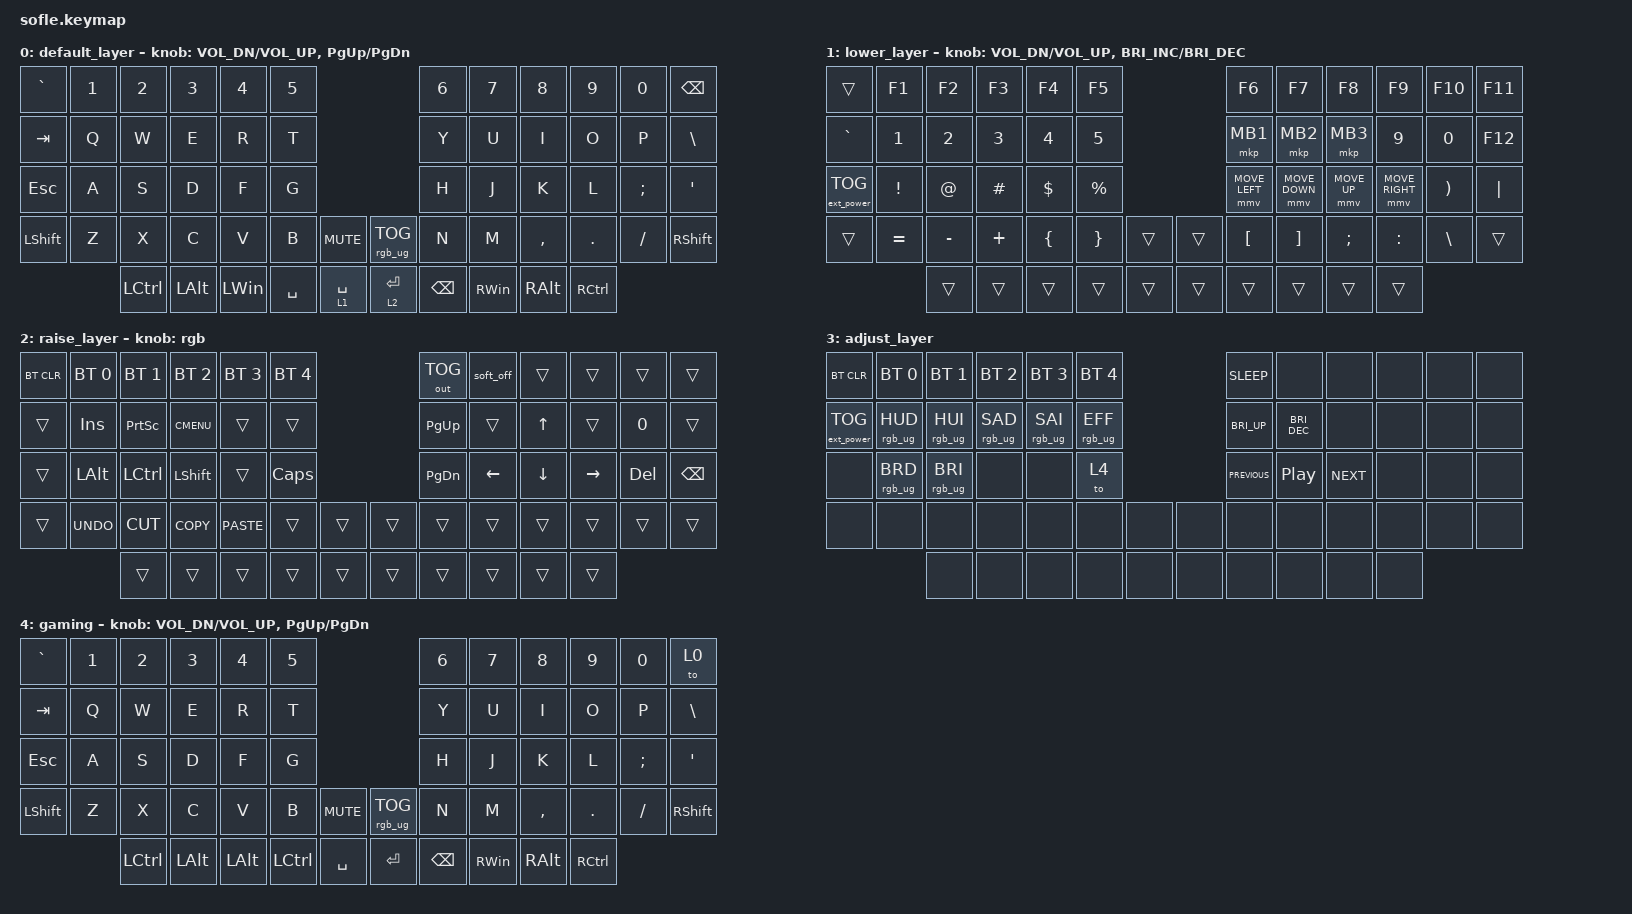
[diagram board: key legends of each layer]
/*
 * Copyright (c) 2020 The ZMK Contributors
 *
 * SPDX-License-Identifier: MIT
 */

#define ZMK_POINTING_DEFAULT_MOVE_VAL 1500  // default: 600
#define ZMK_POINTING_DEFAULT_SCRL_VAL 20    // default: 10

#include <behaviors.dtsi>
#include <dt-bindings/zmk/bt.h>
#include <dt-bindings/zmk/ext_power.h>
#include <dt-bindings/zmk/keys.h>
#include <dt-bindings/zmk/outputs.h>
#include <dt-bindings/zmk/pointing.h>
#include <dt-bindings/zmk/rgb.h>

#define BASE 0
#define LOWER 1
#define RAISE 2
#define ADJUST 3

/ {
    // Activate ADJUST layer by pressing raise and lower

    conditional_layers {
        compatible = "zmk,conditional-layers";

        adjust_layer {
            if-layers = <1 2>;
            then-layer = <3>;
        };
    };

    behaviors {
        rgb: rgb {
            compatible = "zmk,behavior-sensor-rotate";
            label = "RGB";
            #sensor-binding-cells = <0>;
            bindings = <&rgb_ug RGB_BRI>, <&rgb_ug RGB_BRD>;
        };
    };

    combos {
        compatible = "zmk,combos";

        cedilha {
            bindings = <&cedilha>;
            key-positions = <39 46>;
        };
    };

    macros {
        cedilha: cedilha {
            compatible = "zmk,behavior-macro";
            #binding-cells = <0>;
            bindings = <&kp RIGHT_ALT &kp C &kp COMMA>;
            label = "CEDILHA";
        };
    };

    keymap {
        compatible = "zmk,keymap";

        default_layer {
            // ------------------------------------------------------------------------------------------------------------
            // |   `   |  1  |  2  |  3   |  4   |  5   |                   |  6   |  7    |  8    |  9   |   0   |       |
            // |  ESC  |  Q  |  W  |  E   |  R   |  T   |                   |  Y   |  U    |  I    |  O   |   P   | BKSPC |
            // |  TAB  |  A  |  S  |  D   |  F   |  G   |                   |  H   |  J    |  K    |  L   |   ;   |   '   |
            // | SHIFT |  Z  |  X  |  C   |  V   |  B   |  MUTE  |  |       |  N   |  M    |  ,    |  .   |   /   | SHIFT |
            //               | GUI | ALT  | CTRL | LOWER|  ENTER |  | SPACE | RAISE| CTRL  | ALT   | GUI  |

            bindings = <
&kp GRAVE  &kp N1  &kp N2            &kp N3    &kp N4        &kp N5                                     &kp N6         &kp N7         &kp N8         &kp N9     &kp N0    &kp BACKSPACE
&kp TAB    &kp Q   &kp W             &kp E     &kp R         &kp T                                      &kp Y          &kp U          &kp I          &kp O      &kp P     &kp BACKSLASH
&kp ESC    &kp A   &kp S             &kp D     &kp F         &kp G                                      &kp H          &kp J          &kp K          &kp L      &kp SEMI  &kp SQT
&kp LSHFT  &kp Z   &kp X             &kp C     &kp V         &kp B      &kp C_MUTE     &rgb_ug RGB_TOG  &kp N          &kp M          &kp COMMA      &kp DOT    &kp FSLH  &kp RSHFT
                   &kp LEFT_CONTROL  &kp LALT  &kp LEFT_WIN  &kp SPACE  &lt 1 SPACE    &lt 2 ENTER      &kp BACKSPACE  &kp RIGHT_WIN  &kp RIGHT_ALT  &kp RCTRL
            >;

            sensor-bindings =
                <&inc_dec_kp C_VOL_DN C_VOL_UP>,
                <&inc_dec_kp PAGE_UP PAGE_DOWN>;
        };

        lower_layer {
            // TODO: Some binds are waiting for shifted keycode support.
            // ------------------------------------------------------------------------------------------------------------
            // |       |  F1 |  F2 |  F3  |  F4  |  F5  |                   |  F6  |  F7   |  F8   |  F9  |  F10  |  F11  |
            // |   `   |  1  |  2  |  3   |  4   |  5   |                   |  6   |  7    |  8    |  9   |   0   |  F12  |
            // |       |  !  |  @  |  #   |  $   |  %   |                   |  ^   |  &    |  *    |  (   |   )   |   |   |
            // |       |  =  |  -  |  +   |  {   |  }   |        |  |       |  [   |  ]    |  ;    |  :   |   \   |       |
            //               |     |      |      |      |        |  |       |      |       |       |      |

            bindings = <
&trans             &kp F1     &kp F2     &kp F3    &kp F4    &kp F5                       &kp F6          &kp F7          &kp F8        &kp F9           &kp F10   &kp F11
&kp GRAVE          &kp N1     &kp N2     &kp N3    &kp N4    &kp N5                       &mkp MB1        &mkp MB2        &mkp MB3      &kp N9           &kp N0    &kp F12
&ext_power EP_TOG  &kp EXCL   &kp AT     &kp HASH  &kp DLLR  &kp PRCNT                    &mmv MOVE_LEFT  &mmv MOVE_DOWN  &mmv MOVE_UP  &mmv MOVE_RIGHT  &kp RPAR  &kp PIPE
&trans             &kp EQUAL  &kp MINUS  &kp PLUS  &kp LBRC  &kp RBRC   &trans    &trans  &kp LBKT        &kp RBKT        &kp SEMI      &kp COLON        &kp BSLH  &trans
                              &trans     &trans    &trans    &trans     &trans    &trans  &trans          &trans          &trans        &trans
            >;

            sensor-bindings =
                <&inc_dec_kp C_VOL_DN C_VOL_UP>,
                <&inc_dec_kp C_BRIGHTNESS_INC C_BRIGHTNESS_DEC>;
        };

        raise_layer {
            // ------------------------------------------------------------------------------------------------------------
            // | BTCLR | BT1  | BT2  |  BT3  |  BT4  |  BT5 |                |      |      |       |      |       |       |
            // |       | INS  | PSCR | GUI   |       |      |                | PGUP |      |   ^   |      |       |       |
            // |       | ALT  | CTRL | SHIFT |       | CAPS |                | PGDN |   <- |   v   |  ->  |  DEL  | BKSPC |
            // |       | UNDO | CUT  | COPY  | PASTE |      |      |  |      |      |      |       |      |       |       |
            //                |      |       |       |      |      |  |      |      |      |       |      |

            bindings = <
&bt BT_CLR  &bt BT_SEL 0  &bt BT_SEL 1  &bt BT_SEL 2  &bt BT_SEL 3  &bt BT_SEL 4                    &out OUT_TOG  &soft_off  &trans    &trans     &trans   &trans
&trans      &kp INS       &kp PSCRN     &kp K_CMENU   &trans        &trans                          &kp PG_UP     &trans     &kp UP    &trans     &kp N0   &trans
&trans      &kp LALT      &kp LCTRL     &kp LSHFT     &trans        &kp CLCK                        &kp PG_DN     &kp LEFT   &kp DOWN  &kp RIGHT  &kp DEL  &kp BSPC
&trans      &kp K_UNDO    &kp K_CUT     &kp K_COPY    &kp K_PASTE   &trans        &trans    &trans  &trans        &trans     &trans    &trans     &trans   &trans
                          &trans        &trans        &trans        &trans        &trans    &trans  &trans        &trans     &trans    &trans
            >;

            sensor-bindings = <&rgb>;
        };

        adjust_layer {
            // ----------------------------------------------------------------------------------------------------------------------------
            // | BTCLR  |  BT1    |  BT2    |   BT3   |   BT4   |   BT5   |                  |      |      |       |      |       |       |
            // | EXTPWR | RGB_HUD | RGB_HUI | RGB_SAD | RGB_SAI | RGB_EFF |                  |      |      |       |      |       |       |
            // |        | RGB_BRD | RGB_BRI |         |         |         |                  |      |      |       |      |       |       |
            // |        |         |         |         |         |         | RGB_TOG | |      |      |      |       |      |       |       |
            //                    |         |         |         |         |         | |      |      |      |       |      |

            bindings = <
&bt BT_CLR         &bt BT_SEL 0     &bt BT_SEL 1     &bt BT_SEL 2     &bt BT_SEL 3     &bt BT_SEL 4                     &kp C_SLEEP     &none                 &none       &none  &none  &none
&ext_power EP_TOG  &rgb_ug RGB_HUD  &rgb_ug RGB_HUI  &rgb_ug RGB_SAD  &rgb_ug RGB_SAI  &rgb_ug RGB_EFF                  &kp C_BRI_UP    &kp C_BRIGHTNESS_DEC  &none       &none  &none  &none
&none              &rgb_ug RGB_BRD  &rgb_ug RGB_BRI  &none            &none            &to 4                            &kp C_PREVIOUS  &kp C_PLAY_PAUSE      &kp K_NEXT  &none  &none  &none
&none              &none            &none            &none            &none            &none            &none    &none  &none           &none                 &none       &none  &none  &none
                                    &none            &none            &none            &none            &none    &none  &none           &none                 &none       &none
            >;
        };

        gaming {
            bindings = <
&kp GRAVE  &kp N1  &kp N2            &kp N3    &kp N4        &kp N5                                           &kp N6         &kp N7         &kp N8         &kp N9     &kp N0    &to 0
&kp TAB    &kp Q   &kp W             &kp E     &kp R         &kp T                                            &kp Y          &kp U          &kp I          &kp O      &kp P     &kp BACKSLASH
&kp ESC    &kp A   &kp S             &kp D     &kp F         &kp G                                            &kp H          &kp J          &kp K          &kp L      &kp SEMI  &kp SQT
&kp LSHFT  &kp Z   &kp X             &kp C     &kp V         &kp B             &kp C_MUTE    &rgb_ug RGB_TOG  &kp N          &kp M          &kp COMMA      &kp DOT    &kp FSLH  &kp RSHFT
                   &kp LEFT_CONTROL  &kp LALT  &kp LEFT_ALT  &kp LEFT_CONTROL  &kp SPACE     &kp ENTER        &kp BACKSPACE  &kp RIGHT_WIN  &kp RIGHT_ALT  &kp RCTRL
            >;

            sensor-bindings =
                <&inc_dec_kp C_VOL_DN C_VOL_UP>,
                <&inc_dec_kp PAGE_UP PAGE_DOWN>;
        };
    };
};
